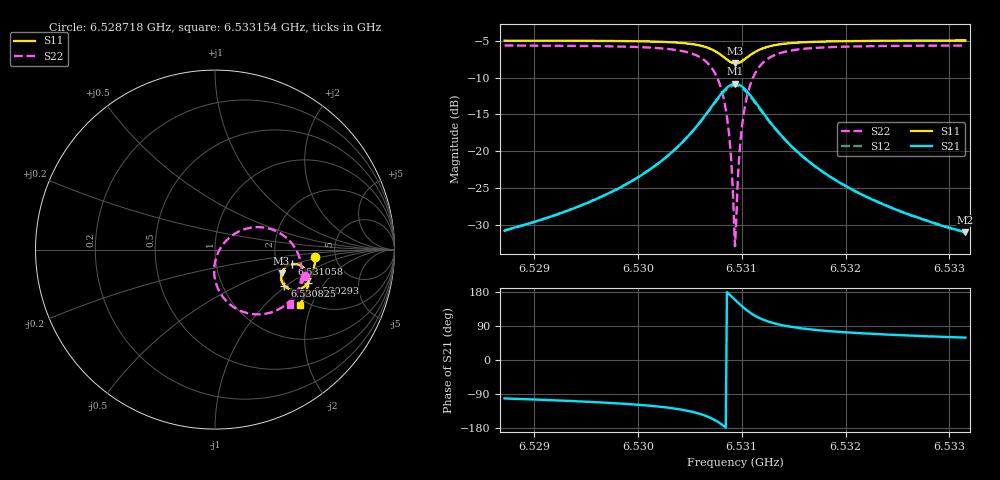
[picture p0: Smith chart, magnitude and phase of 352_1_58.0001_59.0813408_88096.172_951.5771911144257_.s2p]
#  HZ  S  RI  R  50.00
! Rohde & Schwarz Vector Network Analyzer
! Rohde-Schwarz,ZNB20-2Port,1311601062101988,3.16
! Created: UTC 3/21/2024, 1:06:03 AM
! freq[Hz]  re:S11  im:S11  re:S21  im:S21  re:S12  im:S12  re:S22  im:S22
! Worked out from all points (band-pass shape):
!   401 points, 6.528718 GHz to 6.533154 GHz, reference 50 ohm
!   highest |S21| = -10.85 dB at 6.530936 GHz (marker M1); lowest = -31.0 dB at 6.533154 GHz (marker M2)
!   |S21| within 3 dB of the highest: 6.530715 GHz to 6.531159 GHz (443.8 kHz wide, 0.0068 % of centre)
!   lowest |S11| = -8.1 dB at 6.530936 GHz (marker M3), VSWR 2.30, Z = 102 - j32.1 ohm
!   |S11| at or under -10 dB: nowhere
!   |S22| runs from -32.8 to -5.7 dB; largest |S21 - S12| = 0.011
!   S11 on the Smith chart (normalised r, x): 6.528718 GHz: 3.50, -0.43; 6.530293 GHz: 2.62, -1.38; 6.530825 GHz: 1.94, -0.97; 6.531058 GHz: 2.43, -0.49; 6.533154 GHz: 1.82, -1.65
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6.5287175e9  0.5599 -0.0419  -0.00579 -0.0284  -0.00638 -0.0285  0.5001 -0.1451
6.5294607e9  0.5509 -0.1028  -0.0144 -0.0407  -0.0153 -0.0404  0.4718 -0.2125
6.5302039e9  0.5245 -0.1743  -0.0456 -0.07  -0.0474 -0.069  0.3961 -0.3054
6.5302926e9  0.5177 -0.1845  -0.0549 -0.0761  -0.0571 -0.0746  0.3761 -0.32
6.5305033e9  0.4919 -0.2103  -0.0932 -0.0921  -0.0959 -0.089  0.2995 -0.3537
6.5306586e9  0.4544 -0.2256  -0.1517 -0.0951  -0.1537 -0.0893  0.1917 -0.3564
6.5307585e9  0.4158 -0.2214  -0.2115 -0.0721  -0.2112 -0.0637  0.0893 -0.3099
6.530825e9  0.387 -0.2019  -0.2542 -0.0285  -0.2503 -0.0193  0.0224 -0.2295
6.5308805e9  0.3703 -0.1712  -0.276 0.031  -0.2684 0.0386  -0.00466 -0.127
6.5309138e9  0.3682 -0.1483  -0.2755 0.0735  -0.2662 0.0789  0.00308 -0.057
6.5309249e9  0.369 -0.1404  -0.2723 0.0879  -0.263 0.0923  0.0101 -0.034
6.5309359e9  0.3708 -0.1326  -0.268 0.1017  -0.2584 0.1054  0.0196 -0.0117
6.530947e9  0.3734 -0.1252  -0.2621 0.1152  -0.2527 0.1179  0.0312 0.00948
6.5309581e9  0.3766 -0.118  -0.2551 0.128  -0.2455 0.1299  0.0448 0.0294
6.5309803e9  0.3856 -0.1054  -0.2376 0.1507  -0.2285 0.1511  0.077 0.0641
6.5310025e9  0.3966 -0.0951  -0.2169 0.1692  -0.2088 0.1681  0.114 0.091
6.531058e9  0.4278 -0.0813  -0.1605 0.1944  -0.1547 0.1918  0.2122 0.1238
6.5311356e9  0.4663 -0.0844  -0.0927 0.1928  -0.0897 0.1903  0.3258 0.1089
6.5312465e9  0.4987 -0.107  -0.0357 0.1634  -0.0343 0.162  0.4187 0.0453
6.5316791e9  0.52 -0.1827  0.0139 0.0808  0.0148 0.0805  0.4829 -0.1305
6.5324223e9  0.4997 -0.2555  0.0165 0.0385  0.0171 0.0385  0.4554 -0.2458
6.5331544e9  0.4714 -0.309  0.0145 0.0243  0.015 0.0241  0.4197 -0.3079
